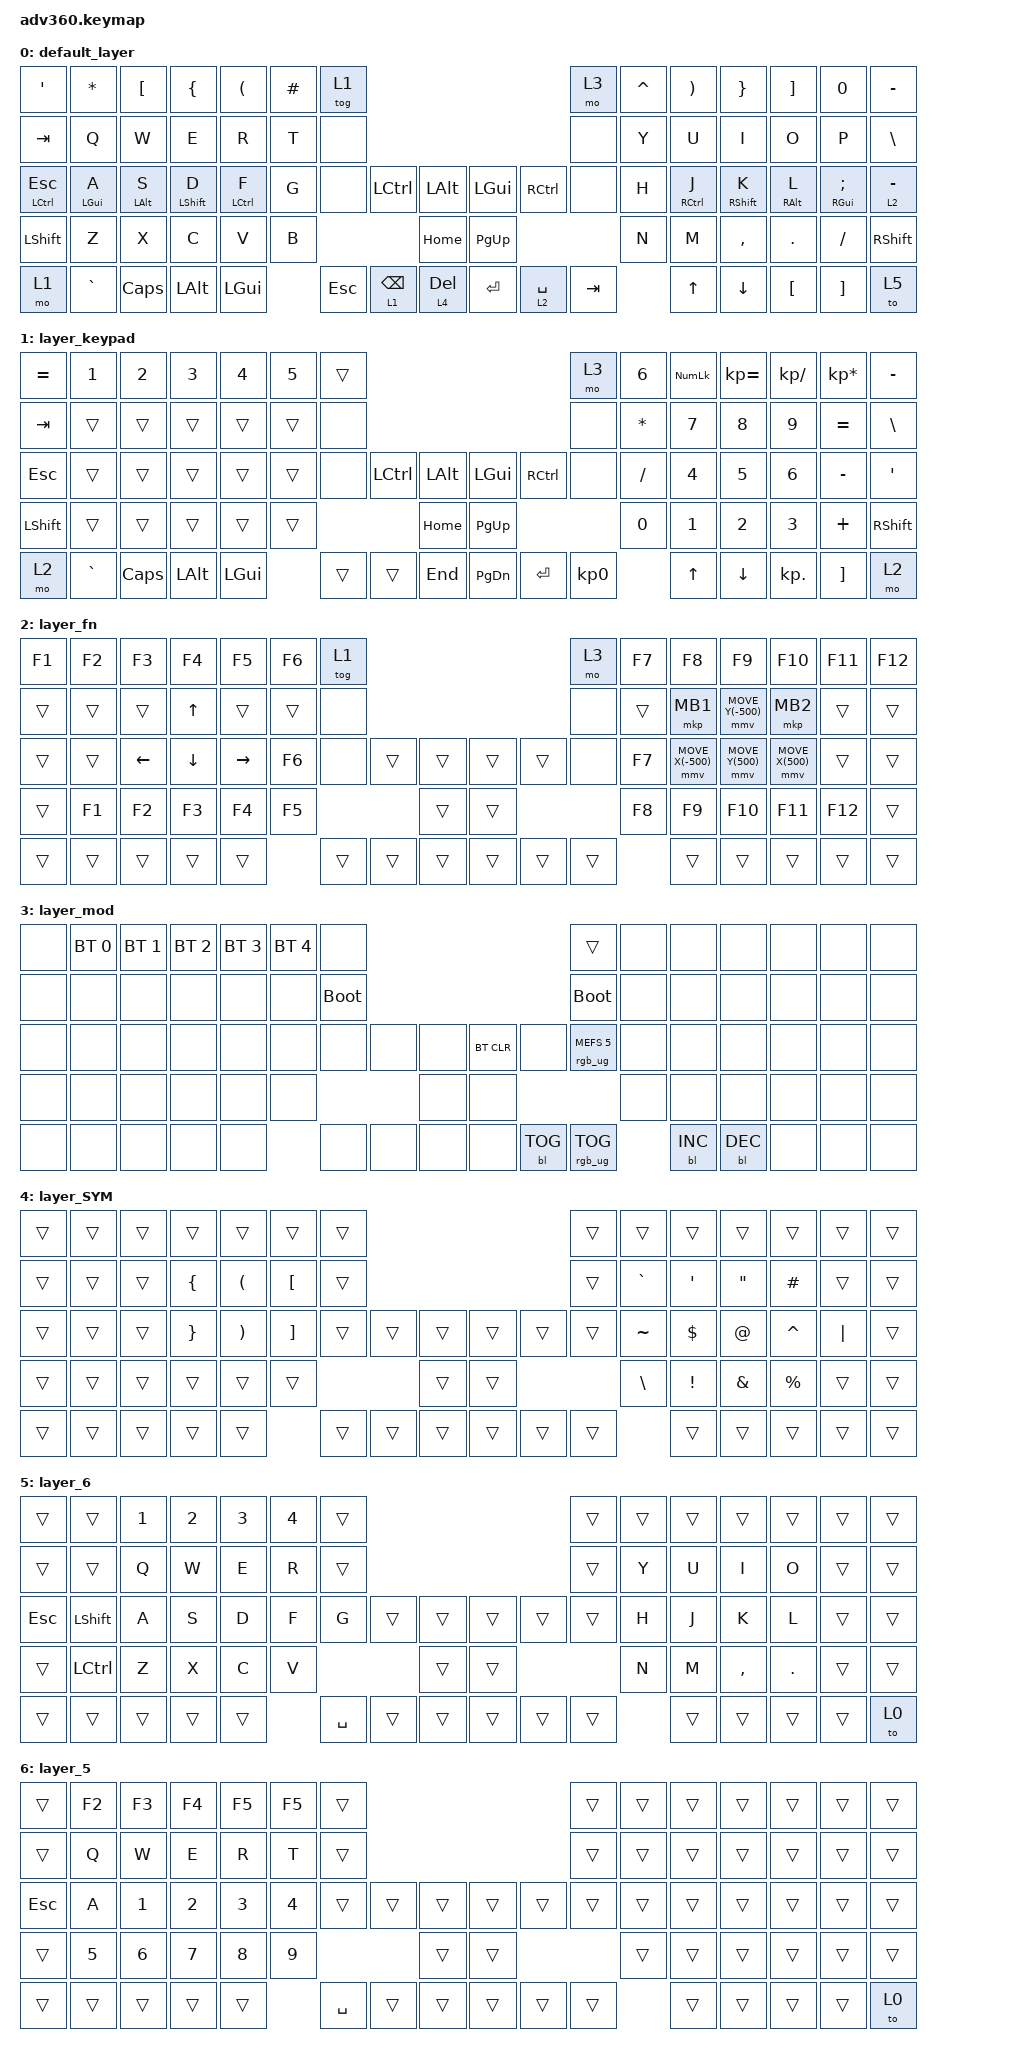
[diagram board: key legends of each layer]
/*
 * Copyright (c) 2020 The ZMK Contributors
 *
 * SPDX-License-Identifier: MIT
 */
/* THIS FILE WAS GENERATED!
 *
 * This file was generated automatically. You may or may not want to
 * edit it directly.
 */

#include <dt-bindings/zmk/stp.h>
#include <behaviors.dtsi>
#include <dt-bindings/zmk/backlight.h>
#include <dt-bindings/zmk/bt.h>
#include <dt-bindings/zmk/keys.h>
#include <dt-bindings/zmk/pointing.h>
#include <dt-bindings/zmk/rgb.h>

/ {
    behaviors {
        #include "macros.dtsi"
      #include "version.dtsi"

        hm: homerow_mods {
            compatible = "zmk,behavior-hold-tap";
            label = "HOMEROW_MODS";
            #binding-cells = <2>;
            tapping-term-ms = <200>;
            quick_tap_ms = <175>;
            flavor = "tap-preferred";
            bindings = <&kp>, <&kp>;
        };
    };

    keymap {
        compatible = "zmk,keymap";

        default_layer {
            bindings = <
&kp APOSTROPHE  &kp ASTERISK    &kp LEFT_BRACKET  &kp LEFT_BRACE    &kp LEFT_PARENTHESIS  &kp POUND  &tog 1                                                              &mo 3    &kp CARET  &kp RIGHT_PARENTHESIS  &kp RIGHT_BRACE    &kp RIGHT_BRACKET  &kp N0                   &kp MINUS
&kp TAB         &kp Q           &kp W             &kp E             &kp R                 &kp T      &none                                                               &none    &kp Y      &kp U                  &kp I              &kp O              &kp P                    &kp BSLH
&mt LCTRL ESC   &hm LEFT_GUI A  &hm LEFT_ALT S    &hm LEFT_SHIFT D  &hm LEFT_CONTROL F    &kp G      &none       &kp LCTRL        &kp LALT       &kp LGUI   &kp RCTRL    &none    &kp H      &hm RIGHT_CONTROL J    &hm RIGHT_SHIFT K  &hm RIGHT_ALT L    &hm RIGHT_GUI SEMICOLON  &lt 2 MINUS
&kp LSHFT       &kp Z           &kp X             &kp C             &kp V                 &kp B                                   &kp HOME       &kp PG_UP                        &kp N      &kp M                  &kp COMMA          &kp DOT            &kp FSLH                 &kp RSHFT
&mo 1           &kp GRAVE       &kp CAPS          &kp LEFT_ALT      &kp LGUI                         &kp ESCAPE  &lt 1 BACKSPACE  &lt 4 DEL      &kp ENTER  &lt 2 SPACE  &kp TAB             &kp UP                 &kp DOWN           &kp LBKT           &kp RBKT                 &to 5
            >;
        };

        layer_keypad {
            bindings = <
&kp EQUAL  &kp N1     &kp N2    &kp N3        &kp N4    &kp N5  &trans                                                 &mo 3      &kp N6        &kp KP_NUM    &kp KP_EQUAL  &kp KP_DIVIDE  &kp KP_MULTIPLY  &kp MINUS
&kp TAB    &trans     &trans    &trans        &trans    &trans  &none                                                  &none      &kp ASTERISK  &kp NUMBER_7  &kp NUMBER_8  &kp NUMBER_9   &kp EQUAL        &kp BSLH
&kp ESC    &trans     &trans    &trans        &trans    &trans  &none   &kp LCTRL  &kp LALT      &kp LGUI   &kp RCTRL  &none      &kp SLASH     &kp NUMBER_4  &kp NUMBER_5  &kp NUMBER_6   &kp MINUS        &kp SQT
&kp LSHFT  &trans     &trans    &trans        &trans    &trans                     &kp HOME      &kp PG_UP                        &kp NUMBER_0  &kp NUMBER_1  &kp NUMBER_2  &kp NUMBER_3   &kp PLUS         &kp RSHFT
&mo 2      &kp GRAVE  &kp CAPS  &kp LEFT_ALT  &kp LGUI          &trans  &trans     &kp END       &kp PG_DN  &kp ENTER  &kp KP_N0                &kp UP        &kp DOWN      &kp KP_DOT     &kp RBKT         &mo 2
            >;
        };

        layer_fn {
            bindings = <
&kp F1  &kp F2  &kp F3    &kp F4    &kp F5     &kp F6  &tog 1                                      &mo 3   &kp F7  &kp F8             &kp F9             &kp F10           &kp F11  &kp F12
&trans  &trans  &trans    &kp UP    &trans     &trans  &none                                       &none   &trans  &mkp MB1           &mmv MOVE_Y(-500)  &mkp MB2          &trans   &trans
&trans  &trans  &kp LEFT  &kp DOWN  &kp RIGHT  &kp F6  &none   &trans  &trans      &trans  &trans  &none   &kp F7  &mmv MOVE_X(-500)  &mmv MOVE_Y(500)   &mmv MOVE_X(500)  &trans   &trans
&trans  &kp F1  &kp F2    &kp F3    &kp F4     &kp F5                  &trans      &trans                  &kp F8  &kp F9             &kp F10            &kp F11           &kp F12  &trans
&trans  &trans  &trans    &trans    &trans             &trans  &trans  &trans      &trans  &trans  &trans          &trans             &trans             &trans            &trans   &trans
            >;
        };

        layer_mod {
            bindings = <
&none  &bt BT_SEL 0  &bt BT_SEL 1  &bt BT_SEL 2  &bt BT_SEL 3  &bt BT_SEL 4  &none                                                  &trans                  &none  &none       &none       &none  &none  &none
&none  &none         &none         &none         &none         &none         &bootloader                                            &bootloader             &none  &none       &none       &none  &none  &none
&none  &none         &none         &none         &none         &none         &none        &none  &none      &bt BT_CLR  &none       &rgb_ug RGB_MEFS_CMD 5  &none  &none       &none       &none  &none  &none
&none  &none         &none         &none         &none         &none                             &none      &none                                           &none  &none       &none       &none  &none  &none
&none  &none         &none         &none         &none                       &none        &none  &none      &none       &bl BL_TOG  &rgb_ug RGB_TOG                &bl BL_INC  &bl BL_DEC  &none  &none  &none
            >;
        };

        layer_SYM {
            bindings = <
&trans  &trans  &trans  &trans           &trans                 &trans    &trans                                      &trans  &trans     &trans           &trans             &trans       &trans    &trans
&trans  &trans  &trans  &kp LEFT_BRACE   &kp LEFT_PARENTHESIS   &kp LBKT  &trans                                      &trans  &kp GRAVE  &kp APOSTROPHE   &kp DOUBLE_QUOTES  &kp HASH     &trans    &trans
&trans  &trans  &trans  &kp RIGHT_BRACE  &kp RIGHT_PARENTHESIS  &kp RBKT  &trans  &trans  &trans      &trans  &trans  &trans  &kp TILDE  &kp DOLLAR       &kp AT_SIGN        &kp CARET    &kp PIPE  &trans
&trans  &trans  &trans  &trans           &trans                 &trans                    &trans      &trans                  &kp BSLH   &kp EXCLAMATION  &kp AMPERSAND      &kp PERCENT  &trans    &trans
&trans  &trans  &trans  &trans           &trans                           &trans  &trans  &trans      &trans  &trans  &trans             &trans           &trans             &trans       &trans    &trans
            >;
        };

        layer_6 {
            bindings = <
&trans      &trans            &kp N1  &kp N2  &kp N3  &kp N4  &trans                                         &trans  &trans  &trans  &trans     &trans   &trans  &trans
&trans      &trans            &kp Q   &kp W   &kp E   &kp R   &trans                                         &trans  &kp Y   &kp U   &kp I      &kp O    &trans  &trans
&kp ESCAPE  &kp LEFT_SHIFT    &kp A   &kp S   &kp D   &kp F   &kp G      &trans  &trans      &trans  &trans  &trans  &kp H   &kp J   &kp K      &kp L    &trans  &trans
&trans      &kp LEFT_CONTROL  &kp Z   &kp X   &kp C   &kp V                      &trans      &trans                  &kp N   &kp M   &kp COMMA  &kp DOT  &trans  &trans
&trans      &trans            &trans  &trans  &trans          &kp SPACE  &trans  &trans      &trans  &trans  &trans          &trans  &trans     &trans   &trans  &to 0
            >;
        };

        layer_5 {
            bindings = <
&trans      &kp F2  &kp F3  &kp F4  &kp F5  &kp F5  &trans                                         &trans  &trans  &trans  &trans  &trans  &trans  &trans
&trans      &kp Q   &kp W   &kp E   &kp R   &kp T   &trans                                         &trans  &trans  &trans  &trans  &trans  &trans  &trans
&kp ESCAPE  &kp A   &kp N1  &kp N2  &kp N3  &kp N4  &trans     &trans  &trans      &trans  &trans  &trans  &trans  &trans  &trans  &trans  &trans  &trans
&trans      &kp N5  &kp N6  &kp N7  &kp N8  &kp N9                     &trans      &trans                  &trans  &trans  &trans  &trans  &trans  &trans
&trans      &trans  &trans  &trans  &trans          &kp SPACE  &trans  &trans      &trans  &trans  &trans          &trans  &trans  &trans  &trans  &to 0
            >;
        };
    };
};
